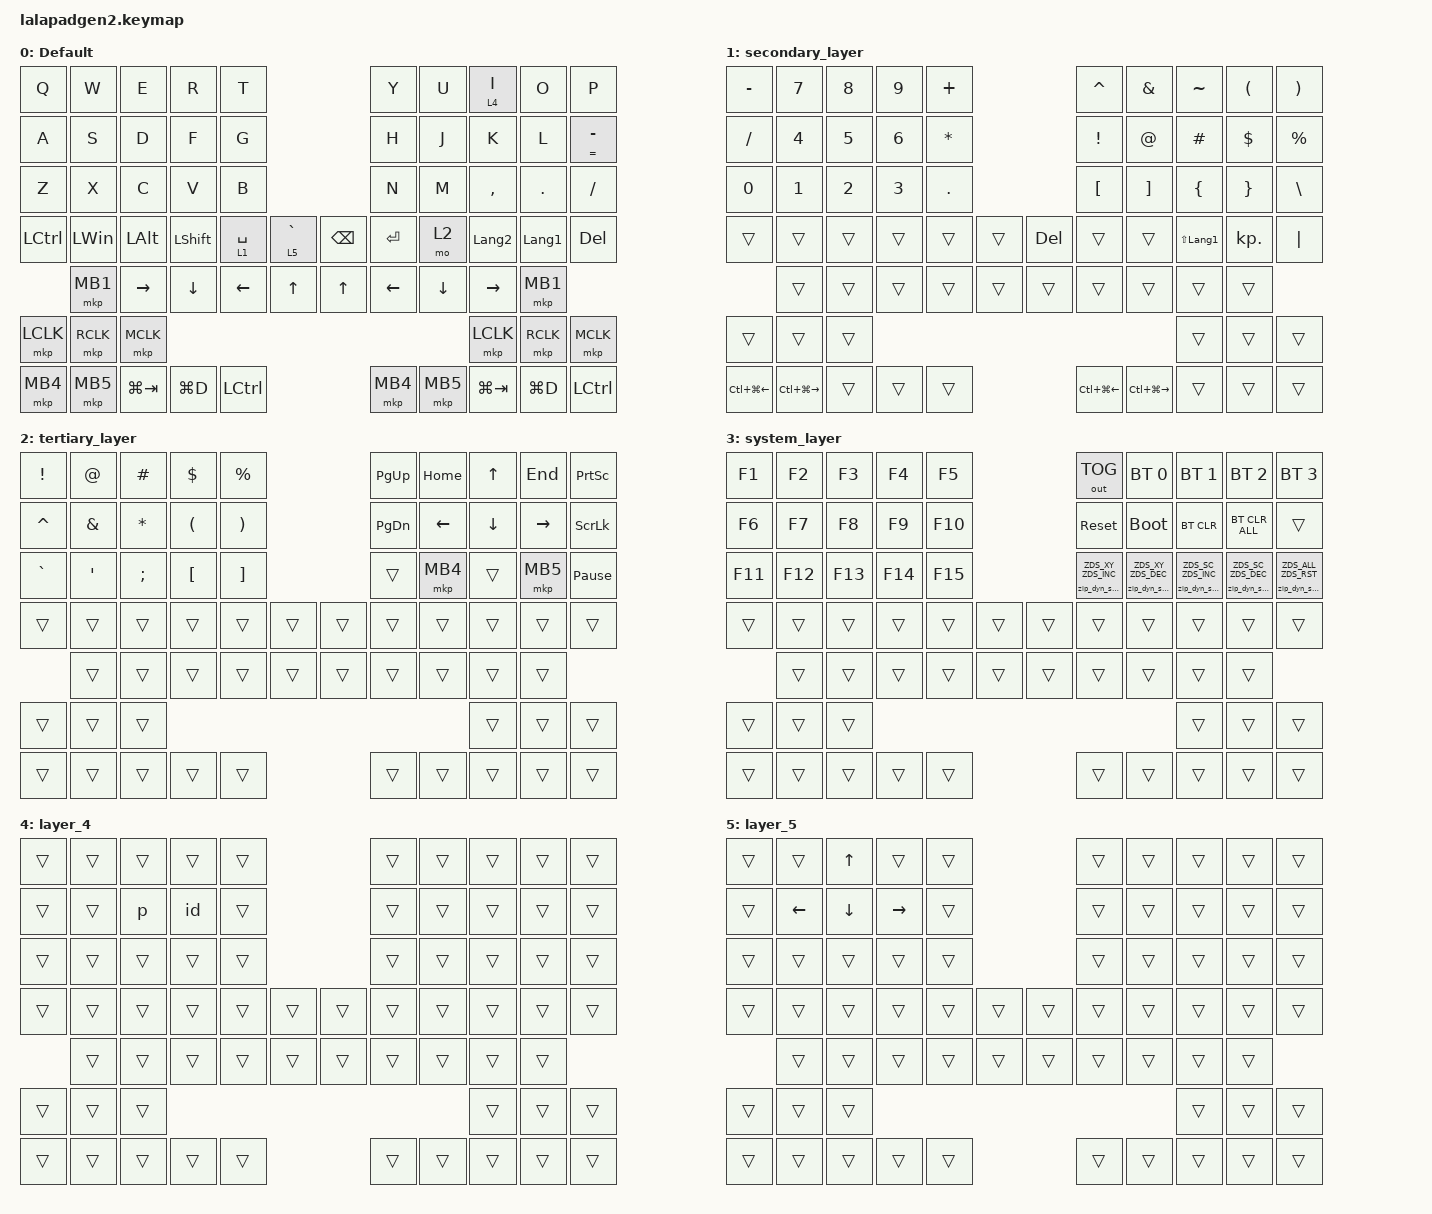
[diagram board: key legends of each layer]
#include <input/processors.dtsi>
#include <dt-bindings/zmk/zip_dynamic_scale.h>
#include <behaviors.dtsi>
#include <dt-bindings/zmk/bt.h>
#include <dt-bindings/zmk/keys.h>
#include <dt-bindings/zmk/outputs.h>
#include <dt-bindings/zmk/pointing.h>

#define DEFAULT_LAYER   0
#define SECONDARY_LAYER 1
#define TERTIARY_LAYER  2
#define SYSTEM_LAYER    3

&mt { quick-tap-ms = <200>; };

&lt { quick-tap-ms = <200>; };

/ {
    behaviors {
        zip_dyn_scale: zip_dyn_scale {
            compatible = "zmk,behavior-zip-dynamic-scale";
            #binding-cells = <2>;
        };

        zip_dyn_scale_set: zip_dyn_scale_set {
            compatible = "zmk,behavior-zip-dynamic-scale-set";
            #binding-cells = <2>;
        };

        mt2: mod_tap2 {
            compatible = "zmk,behavior-hold-tap";
            #binding-cells = <2>;
            flavor = "tap-preferred";
            tapping-term-ms = <200>;
            quick-tap-ms = <200>;
            require-prior-idle-ms = <125>;
            bindings = <&kp>, <&kp>;
        };

        tap_dance_layer_1and2: tap_dance_layer_1and2 {
            compatible = "zmk,behavior-tap-dance";
            label = "td_mo12";
            #binding-cells = <0>;
            bindings = <&mo 1>, <&mo 2>;
        };
    };

    combos {
        compatible = "zmk,combos";

        CONBO_ESC {
            bindings = <&kp ESCAPE>;
            key-positions = <0 1>;
        };

        COMBO_TAB {
            bindings = <&kp TAB>;
            key-positions = <11 12>;
        };
    };

    macros {
        id: new_macro {
            compatible = "zmk,behavior-macro";
            #binding-cells = <0>;
            bindings = <&kp LS(M) &kp NUMBER_1 &kp N5 &kp N7 &kp N0 &kp N4 &kp N6>;
            label = "NEW_MACRO";
        };

        p: p {
            compatible = "zmk,behavior-macro";
            #binding-cells = <0>;
            bindings = <&none &kp LS(A) &kp V &kp I &kp O &kp N &kp I &kp C &kp W &kp I &kp Z &kp A &kp R &kp D &kp N0 &kp N4 &kp N1 &kp N9>;
            label = "P";
        };
    };

    keymap {
        compatible = "zmk,keymap";

        DEFAULT_LAYER {
            display-name = "Default";
            bindings = <
&kp Q      &kp W      &kp E         &kp R           &kp T                                    &kp Y      &kp U     &lt 4 I         &kp O           &kp P
&kp A      &kp S      &kp D         &kp F           &kp G                                    &kp H      &kp J     &kp K           &kp L           &mt2 EQUAL MINUS
&kp Z      &kp X      &kp C         &kp V           &kp B                                    &kp N      &kp M     &kp COMMA       &kp PERIOD      &kp SLASH
&kp LCTRL  &kp LWIN   &kp LEFT_ALT  &kp LEFT_SHIFT  &lt 1 SPACE  &lt 5 GRAVE  &kp BACKSPACE  &kp ENTER  &mo 2     &kp LANGUAGE_2  &kp LANGUAGE_1  &kp DEL
           &mkp MB1   &kp RIGHT     &kp DOWN        &kp LEFT     &kp UP       &kp UP         &kp LEFT   &kp DOWN  &kp RIGHT       &mkp MB1
&mkp LCLK  &mkp RCLK  &mkp MCLK                                                                                   &mkp LCLK       &mkp RCLK       &mkp MCLK
&mkp MB4   &mkp MB5   &kp LG(TAB)   &kp LG(D)       &kp LCTRL                                &mkp MB4   &mkp MB5  &kp LG(TAB)     &kp LG(D)       &kp LCTRL
            >;
        };

        SECONDARY_LAYER {
            display-name = "secondary_layer";
            bindings = <
&kp MINUS         &kp NUMBER_7       &kp NUMBER_8  &kp NUMBER_9  &kp PLUS                     &kp CARET         &kp AMPERSAND      &kp TILDE           &kp LEFT_PARENTHESIS  &kp RIGHT_PARENTHESIS
&kp SLASH         &kp NUMBER_4       &kp NUMBER_5  &kp NUMBER_6  &kp ASTRK                    &kp EXCL          &kp AT             &kp HASH            &kp DOLLAR            &kp PERCENT
&kp NUMBER_0      &kp NUMBER_1       &kp NUMBER_2  &kp NUMBER_3  &kp PERIOD                   &kp LEFT_BRACKET  &kp RIGHT_BRACKET  &kp LEFT_BRACE      &kp RIGHT_BRACE       &kp BACKSLASH
&trans            &trans             &trans        &trans        &trans      &trans  &kp DEL  &trans            &trans             &kp LS(LANGUAGE_1)  &kp KP_DOT            &kp PIPE
                  &trans             &trans        &trans        &trans      &trans  &trans   &trans            &trans             &trans              &trans
&trans            &trans             &trans                                                                                        &trans              &trans                &trans
&kp LC(LG(LEFT))  &kp LC(LG(RIGHT))  &trans        &trans        &trans                       &kp LC(LG(LEFT))  &kp LC(LG(RIGHT))  &trans              &trans                &trans
            >;
        };

        TERTIARY_LAYER {
            display-name = "tertiary_layer";
            bindings = <
&kp EXCLAMATION  &kp AT_SIGN    &kp HASH      &kp DOLLAR            &kp PERCENT                            &kp PAGE_UP    &kp HOME  &kp UP_ARROW    &kp END    &kp PRINTSCREEN
&kp CARET        &kp AMPERSAND  &kp ASTERISK  &kp LEFT_PARENTHESIS  &kp RIGHT_PARENTHESIS                  &kp PAGE_DOWN  &kp LEFT  &kp DOWN_ARROW  &kp RIGHT  &kp SCROLLLOCK
&kp GRAVE        &kp SQT        &kp SEMI      &kp LEFT_BRACKET      &kp RIGHT_BRACKET                      &trans         &mkp MB4  &trans          &mkp MB5   &kp PAUSE_BREAK
&trans           &trans         &trans        &trans                &trans                 &trans  &trans  &trans         &trans    &trans          &trans     &trans
                 &trans         &trans        &trans                &trans                 &trans  &trans  &trans         &trans    &trans          &trans
&trans           &trans         &trans                                                                                              &trans          &trans     &trans
&trans           &trans         &trans        &trans                &trans                                 &trans         &trans    &trans          &trans     &trans
            >;
        };

        SYSTEM_LAYER {
            display-name = "system_layer";
            bindings = <
&kp F1   &kp F2   &kp F3   &kp F4   &kp F5                   &out OUT_TOG                   &bt BT_SEL 0                   &bt BT_SEL 1                   &bt BT_SEL 2                   &bt BT_SEL 3
&kp F6   &kp F7   &kp F8   &kp F9   &kp F10                  &sys_reset                     &bootloader                    &bt BT_CLR                     &bt BT_CLR_ALL                 &trans
&kp F11  &kp F12  &kp F13  &kp F14  &kp F15                  &zip_dyn_scale ZDS_XY ZDS_INC  &zip_dyn_scale ZDS_XY ZDS_DEC  &zip_dyn_scale ZDS_SC ZDS_INC  &zip_dyn_scale ZDS_SC ZDS_DEC  &zip_dyn_scale ZDS_ALL ZDS_RST
&trans   &trans   &trans   &trans   &trans   &trans  &trans  &trans                         &trans                         &trans                         &trans                         &trans
         &trans   &trans   &trans   &trans   &trans  &trans  &trans                         &trans                         &trans                         &trans
&trans   &trans   &trans                                                                                                   &trans                         &trans                         &trans
&trans   &trans   &trans   &trans   &trans                   &trans                         &trans                         &trans                         &trans                         &trans
            >;
        };

        layer_4 {
            bindings = <
&trans  &trans  &trans  &trans  &trans                  &trans  &trans  &trans  &trans  &trans
&trans  &trans  &p      &id     &trans                  &trans  &trans  &trans  &trans  &trans
&trans  &trans  &trans  &trans  &trans                  &trans  &trans  &trans  &trans  &trans
&trans  &trans  &trans  &trans  &trans  &trans  &trans  &trans  &trans  &trans  &trans  &trans
        &trans  &trans  &trans  &trans  &trans  &trans  &trans  &trans  &trans  &trans
&trans  &trans  &trans                                                  &trans  &trans  &trans
&trans  &trans  &trans  &trans  &trans                  &trans  &trans  &trans  &trans  &trans
            >;
        };

        layer_5 {
            bindings = <
&trans  &trans          &kp UP_ARROW    &trans     &trans                  &trans  &trans  &trans  &trans  &trans
&trans  &kp LEFT_ARROW  &kp DOWN_ARROW  &kp RIGHT  &trans                  &trans  &trans  &trans  &trans  &trans
&trans  &trans          &trans          &trans     &trans                  &trans  &trans  &trans  &trans  &trans
&trans  &trans          &trans          &trans     &trans  &trans  &trans  &trans  &trans  &trans  &trans  &trans
        &trans          &trans          &trans     &trans  &trans  &trans  &trans  &trans  &trans  &trans
&trans  &trans          &trans                                                             &trans  &trans  &trans
&trans  &trans          &trans          &trans     &trans                  &trans  &trans  &trans  &trans  &trans
            >;
        };
    };

    conditional_layers {
        compatible = "zmk,conditional-layers";

        Cond_Syslayer {
            if-layers = <1 2>;
            then-layer = <3>;
        };
    };
};
